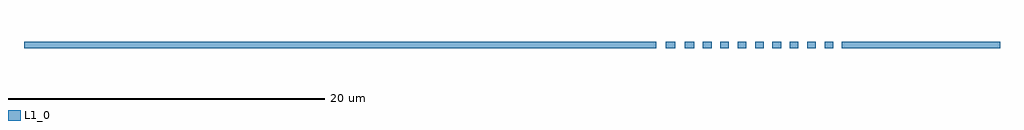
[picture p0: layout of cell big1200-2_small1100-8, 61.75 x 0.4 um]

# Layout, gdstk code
import gdstk
lib = gdstk.Library(unit=1e-6, precision=1e-09)
def R(c, l, rs):  # rectangles x0, y0, x1, y1
    for r in rs: c.add(gdstk.rectangle(r[:2], r[2:], *l))
def A(c, l, x, y, w, h, nx, ny, dx, dy):  # array of equal rectangles
    R(c, l, [(x+i*dx, y+j*dy, x+i*dx+w, y+j*dy+h) for i in range(nx) for j in range(ny)])
L1_0 = (1, 0)

big1200_2_small1100_8 = lib.new_cell('big1200-2_small1100-8')
A(big1200_2_small1100_8, L1_0, 2.95, 0, 0.55, 0.4, 8, 1, 1.1, 0)
R(big1200_2_small1100_8, L1_0, [(-40,0,0,0.4), (0.6,0,1.2,0.4), (1.8,0,2.4,0.4), (11.75,0,21.75,0.4)])

lib.write_gds('big1200-2_small1100-8.gds')
